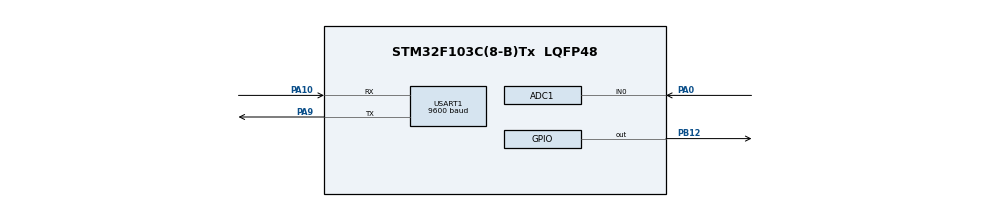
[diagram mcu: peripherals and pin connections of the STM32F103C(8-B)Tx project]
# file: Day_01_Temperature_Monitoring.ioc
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ADC1.Channel-0\#ChannelRegularConversion=ADC_CHANNEL_0
ADC1.NbrOfConversionFlag=1
ADC1.Rank-0\#ChannelRegularConversion=1
ADC1.SamplingTime-0\#ChannelRegularConversion=ADC_SAMPLETIME_1CYCLE_5
ADC1.master=1
Mcu.Family=STM32F1
Mcu.Name=STM32F103C(8-B)Tx
Mcu.Package=LQFP48
NVIC.PriorityGroup=NVIC_PRIORITYGROUP_4
PA0-WKUP.Signal=ADCx_IN0
PA10.Mode=Asynchronous
PA10.Signal=USART1_RX
PA9.Mode=Asynchronous
PA9.Signal=USART1_TX
PB12.Signal=GPIO_Output
ProjectManager.HeapSize=0x200
ProjectManager.StackSize=0x400
ProjectManager.TargetToolchain=STM32CubeIDE
RCC.APB1Freq_Value=8000000
RCC.APB2Freq_Value=8000000
SH.ADCx_IN0.0=ADC1_IN0,IN0
USART1.BaudRate=9600
USART1.VirtualMode=VM_ASYNC
VP_SYS_VS_ND.Mode=No_Debug
board=custom

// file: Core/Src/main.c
/* USER CODE BEGIN Header */
/**
  ******************************************************************************
  * @file           : main.c
  * @brief          : Smart Industrial Safety Monitoring System - Day 2
  ******************************************************************************
  * @attention
  *
  * Copyright (c) 2026 STMicroelectronics.
  * All rights reserved.
  *
  ******************************************************************************
  */
/* USER CODE END Header */

#include "main.h"

/* USER CODE BEGIN Includes */
#include <stdio.h>
#include <string.h>
/* USER CODE END Includes */

ADC_HandleTypeDef hadc1;

UART_HandleTypeDef huart1;

/* USER CODE BEGIN PV */

uint32_t adc_value = 0;
uint32_t gas_adc = 0;

float temperature = 0;
float gas_level = 0;

char uart_buffer[100];

/* USER CODE END PV */

void SystemClock_Config(void);
static void MX_GPIO_Init(void);
static void MX_ADC1_Init(void);
static void MX_USART1_UART_Init(void);

/* USER CODE BEGIN PFP */

float Read_Temperature(void);

float Read_Gas_Level(void);

void Send_UART_Data(void);

void Check_Temperature_Warning(void);

void Check_Gas_Warning(void);

/* USER CODE END PFP */

int main(void)
{
  HAL_Init();

  SystemClock_Config();

  MX_GPIO_Init();
  MX_ADC1_Init();
  MX_USART1_UART_Init();

  while (1)
  {
      Read_Temperature();

      Read_Gas_Level();

      Check_Temperature_Warning();

      Check_Gas_Warning();

      Send_UART_Data();

      HAL_Delay(1000);
  }
}

void SystemClock_Config(void)
{
  RCC_OscInitTypeDef RCC_OscInitStruct = {0};
  RCC_ClkInitTypeDef RCC_ClkInitStruct = {0};
  RCC_PeriphCLKInitTypeDef PeriphClkInit = {0};

  RCC_OscInitStruct.OscillatorType = RCC_OSCILLATORTYPE_HSI;
  RCC_OscInitStruct.HSIState = RCC_HSI_ON;
  RCC_OscInitStruct.HSICalibrationValue = RCC_HSICALIBRATION_DEFAULT;
  RCC_OscInitStruct.PLL.PLLState = RCC_PLL_NONE;

  if (HAL_RCC_OscConfig(&RCC_OscInitStruct) != HAL_OK)
  {
    Error_Handler();
  }

  RCC_ClkInitStruct.ClockType = RCC_CLOCKTYPE_HCLK |
                                RCC_CLOCKTYPE_SYSCLK |
                                RCC_CLOCKTYPE_PCLK1 |
                                RCC_CLOCKTYPE_PCLK2;

  RCC_ClkInitStruct.SYSCLKSource = RCC_SYSCLKSOURCE_HSI;

  RCC_ClkInitStruct.AHBCLKDivider = RCC_SYSCLK_DIV1;

  RCC_ClkInitStruct.APB1CLKDivider = RCC_HCLK_DIV1;

  RCC_ClkInitStruct.APB2CLKDivider = RCC_HCLK_DIV1;

  if (HAL_RCC_ClockConfig(&RCC_ClkInitStruct,
                          FLASH_LATENCY_0) != HAL_OK)
  {
    Error_Handler();
  }

  PeriphClkInit.PeriphClockSelection = RCC_PERIPHCLK_ADC;

  PeriphClkInit.AdcClockSelection = RCC_ADCPCLK2_DIV2;

  if (HAL_RCCEx_PeriphCLKConfig(&PeriphClkInit) != HAL_OK)
  {
    Error_Handler();
  }
}

static void MX_ADC1_Init(void)
{
  ADC_ChannelConfTypeDef sConfig = {0};

  hadc1.Instance = ADC1;

  hadc1.Init.ScanConvMode = ADC_SCAN_DISABLE;

  hadc1.Init.ContinuousConvMode = DISABLE;

  hadc1.Init.DiscontinuousConvMode = DISABLE;

  hadc1.Init.ExternalTrigConv = ADC_SOFTWARE_START;

  hadc1.Init.DataAlign = ADC_DATAALIGN_RIGHT;

  hadc1.Init.NbrOfConversion = 1;

  if (HAL_ADC_Init(&hadc1) != HAL_OK)
  {
    Error_Handler();
  }

  sConfig.Channel = ADC_CHANNEL_0;

  sConfig.Rank = ADC_REGULAR_RANK_1;

  sConfig.SamplingTime = ADC_SAMPLETIME_1CYCLE_5;

  if (HAL_ADC_ConfigChannel(&hadc1, &sConfig) != HAL_OK)
  {
    Error_Handler();
  }
}

static void MX_USART1_UART_Init(void)
{
  huart1.Instance = USART1;

  huart1.Init.BaudRate = 9600;

  huart1.Init.WordLength = UART_WORDLENGTH_8B;

  huart1.Init.StopBits = UART_STOPBITS_1;

  huart1.Init.Parity = UART_PARITY_NONE;

  huart1.Init.Mode = UART_MODE_TX_RX;

  huart1.Init.HwFlowCtl = UART_HWCONTROL_NONE;

  huart1.Init.OverSampling = UART_OVERSAMPLING_16;

  if (HAL_UART_Init(&huart1) != HAL_OK)
  {
    Error_Handler();
  }
}

static void MX_GPIO_Init(void)
{
  GPIO_InitTypeDef GPIO_InitStruct = {0};

  __HAL_RCC_GPIOA_CLK_ENABLE();
  __HAL_RCC_GPIOB_CLK_ENABLE();

  HAL_GPIO_WritePin(GPIOB,
                    GPIO_PIN_12,
                    GPIO_PIN_RESET);

  GPIO_InitStruct.Pin = GPIO_PIN_12;

  GPIO_InitStruct.Mode = GPIO_MODE_OUTPUT_PP;

  GPIO_InitStruct.Pull = GPIO_NOPULL;

  GPIO_InitStruct.Speed = GPIO_SPEED_FREQ_LOW;

  HAL_GPIO_Init(GPIOB, &GPIO_InitStruct);
}

/* USER CODE BEGIN 4 */

float Read_Temperature(void)
{
    ADC_ChannelConfTypeDef sConfig = {0};

    sConfig.Channel = ADC_CHANNEL_0;

    sConfig.Rank = ADC_REGULAR_RANK_1;

    sConfig.SamplingTime = ADC_SAMPLETIME_1CYCLE_5;

    HAL_ADC_ConfigChannel(&hadc1, &sConfig);

    HAL_ADC_Start(&hadc1);

    HAL_ADC_PollForConversion(&hadc1, 100);

    adc_value = HAL_ADC_GetValue(&hadc1);

    float voltage = (adc_value * 3.3f) / 4095.0f;

    temperature = voltage * 100.0f;

    return temperature;
}

float Read_Gas_Level(void)
{
    ADC_ChannelConfTypeDef sConfig = {0};

    sConfig.Channel = ADC_CHANNEL_1;

    sConfig.Rank = ADC_REGULAR_RANK_1;

    sConfig.SamplingTime = ADC_SAMPLETIME_1CYCLE_5;

    HAL_ADC_ConfigChannel(&hadc1, &sConfig);

    HAL_ADC_Start(&hadc1);

    HAL_ADC_PollForConversion(&hadc1, 100);

    gas_adc = HAL_ADC_GetValue(&hadc1);

    gas_level = (gas_adc * 100.0f) / 4095.0f;

    return gas_level;
}

void Send_UART_Data(void)
{
    sprintf(uart_buffer,
            "Temp: %.2f C | Gas: %.2f %%\r\n",
            temperature,
            gas_level);

    HAL_UART_Transmit(&huart1,
                      (uint8_t*)uart_buffer,
                      strlen(uart_buffer),
                      HAL_MAX_DELAY);
}

void Check_Temperature_Warning(void)
{
    if(temperature > 35.0f)
    {
        HAL_GPIO_WritePin(GPIOB,
                          GPIO_PIN_12,
                          GPIO_PIN_SET);
    }
    else
    {
        HAL_GPIO_WritePin(GPIOB,
                          GPIO_PIN_12,
                          GPIO_PIN_RESET);
    }
}

void Check_Gas_Warning(void)
{
    if(gas_level > 40.0f)
    {
        HAL_GPIO_WritePin(GPIOB,
                          GPIO_PIN_12,
                          GPIO_PIN_SET);

        sprintf(uart_buffer,
                "WARNING: GAS LEAK DETECTED\r\n");

        HAL_UART_Transmit(&huart1,
                          (uint8_t*)uart_buffer,
                          strlen(uart_buffer),
                          HAL_MAX_DELAY);
    }
}

/* USER CODE END 4 */

void Error_Handler(void)
{
  __disable_irq();

  while (1)
  {
  }
}
